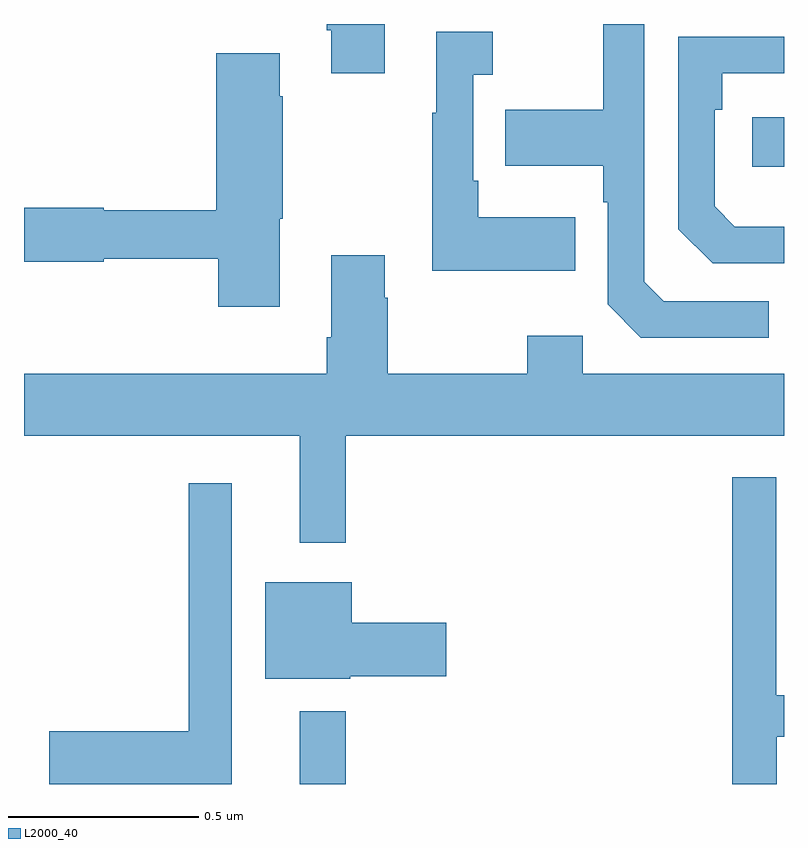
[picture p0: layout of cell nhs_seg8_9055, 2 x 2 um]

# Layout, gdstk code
import gdstk
lib = gdstk.Library(unit=1e-6, precision=1e-09)
def R(c, l, rs):  # rectangles x0, y0, x1, y1
    for r in rs: c.add(gdstk.rectangle(r[:2], r[2:], *l))
def P(c, l, *ps):  # polygons
    for p in ps: c.add(gdstk.Polygon(p, *l))
L2000_40 = (2000, 40)

nhs_seg8_9055 = lib.new_cell('nhs_seg8_9055')
R(nhs_seg8_9055, L2000_40, [(231.725,1132.9,231.847,1133.092), (232.917,1134.524,233,1134.654)])
P(nhs_seg8_9055, L2000_40, [(231.949,1134.9),(231.797,1134.9),(231.797,1134.883),(231.809,1134.883),(231.809,1134.771),(231.949,1134.771)],
  [(232.96,1134.171),(232.683,1134.171),(232.632,1134.222),(232.632,1134.9),(232.524,1134.9),(232.524,1134.675),(232.267,1134.675),(232.267,1134.527),(232.524,1134.527),(232.524,1134.431),(232.536,1134.431),(232.536,1134.162),(232.623,1134.075),(232.96,1134.075)],
  [(232.451,1134.391),(232.195,1134.391),(232.195,1134.487),(232.182,1134.487),(232.182,1134.767),(232.234,1134.767),(232.234,1134.88),(232.085,1134.88),(232.085,1134.667),(232.074,1134.667),(232.074,1134.251),(232.451,1134.251)],
  [(233,1134.367),(232.871,1134.367),(232.818,1134.42),(232.818,1134.674),(232.838,1134.674),(232.838,1134.771),(233,1134.771),(233,1134.867),(232.722,1134.867),(232.722,1134.36),(232.812,1134.27),(233,1134.27)],
  [(231.673,1134.387),(231.681,1134.387),(231.681,1134.71),(231.673,1134.71),(231.673,1134.823),(231.506,1134.823),(231.506,1134.41),(231.21,1134.41),(231.21,1134.416),(231,1134.416),(231,1134.274),(231.21,1134.274),(231.21,1134.282),(231.511,1134.282),(231.511,1134.156),(231.673,1134.156)],
  [(231.847,1133.816),(233,1133.816),(233,1133.98),(232.47,1133.98),(232.47,1134.079),(232.324,1134.079),(232.324,1133.98),(231.957,1133.98),(231.957,1134.179),(231.949,1134.179),(231.949,1134.292),(231.809,1134.292),(231.809,1134.076),(231.797,1134.076),(231.797,1133.98),(231,1133.98),(231,1133.816),(231.725,1133.816),(231.725,1133.535),(231.847,1133.535)],
  [(232.981,1133.025),(233,1133.025),(233,1133.133),(232.98,1133.133),(232.98,1133.707),(232.864,1133.707),(232.864,1132.9),(232.981,1132.9)],
  [(231.547,1133.692),(231.433,1133.692),(231.433,1133.039),(231.066,1133.039),(231.066,1132.9),(231.547,1132.9)],
  [(231.858,1133.183),(232.111,1133.183),(232.111,1133.325),(231.862,1133.325),(231.862,1133.431),(231.635,1133.431),(231.635,1133.177),(231.858,1133.177)])

lib.write_gds('nhs_seg8_9055.gds')
